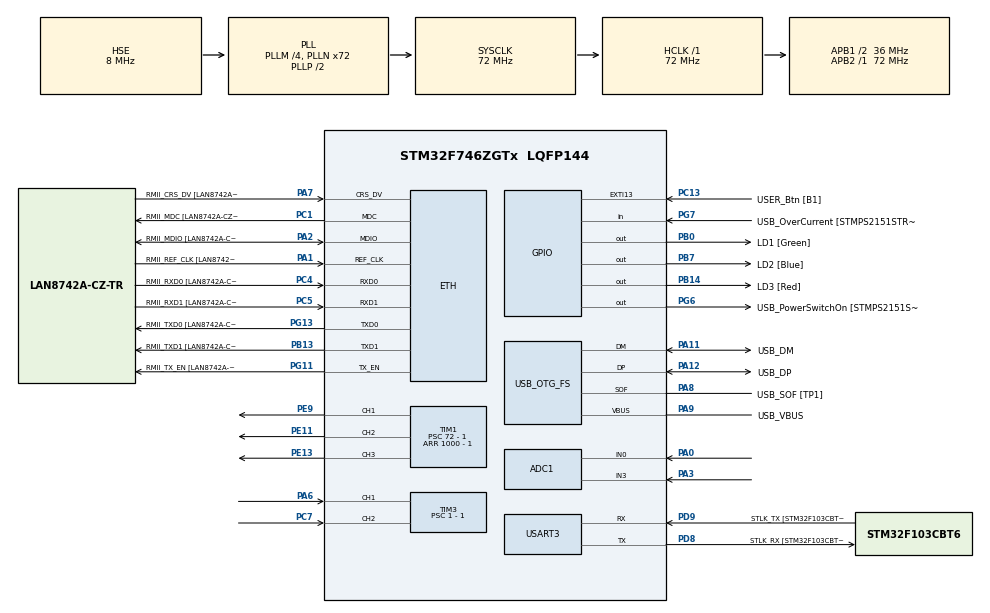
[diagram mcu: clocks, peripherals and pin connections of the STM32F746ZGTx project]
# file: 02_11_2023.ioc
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ADC1.Channel-0\#ChannelRegularConversion=ADC_CHANNEL_3
ADC1.NbrOfConversionFlag=1
ADC1.Rank-0\#ChannelRegularConversion=1
ADC1.SamplingTime-0\#ChannelRegularConversion=ADC_SAMPLETIME_3CYCLES
ADC1.master=1
ETH.MediaInterface=HAL_ETH_RMII_MODE
ETH.PHY_Name=LAN8742A_PHY_ADDRESS
ETH.PHY_Value=0
ETH.PhyAddress=0
Mcu.Family=STM32F7
Mcu.Name=STM32F746ZGTx
Mcu.Package=LQFP144
NVIC.PriorityGroup=NVIC_PRIORITYGROUP_4
NVIC.TIM2_IRQn=true\:0\:0\:false\:false\:true\:true\:true\:true
NVIC.USART3_IRQn=true\:0\:0\:false\:false\:true\:true\:true\:true
PA0/WKUP.Signal=ADCx_IN0
PA1.GPIO_Label=RMII_REF_CLK [LAN8742A-CZ-TR_REFCLK0]
PA1.Mode=RMII
PA1.Signal=ETH_REF_CLK
PA10.GPIO_Label=USB_ID
PA10.Signal=USB_OTG_FS_ID
PA11.GPIO_Label=USB_DM
PA11.Mode=Device_Only
PA11.Signal=USB_OTG_FS_DM
PA12.GPIO_Label=USB_DP
PA12.Mode=Device_Only
PA12.Signal=USB_OTG_FS_DP
PA13.GPIO_Label=TMS
PA13.Mode=Serial_Wire
PA13.Signal=SYS_JTMS-SWDIO
PA14.GPIO_Label=TCK
PA14.Mode=Serial_Wire
PA14.Signal=SYS_JTCK-SWCLK
PA2.GPIO_Label=RMII_MDIO [LAN8742A-CZ-TR_MDIO]
PA2.Mode=RMII
PA2.Signal=ETH_MDIO
PA3.Signal=ADCx_IN3
PA6.GPIO_PuPd=GPIO_PULLUP
PA6.Signal=S_TIM3_CH1
PA7.GPIO_Label=RMII_CRS_DV [LAN8742A-CZ-TR_CRS_DV]
PA7.Mode=RMII
PA7.Signal=ETH_CRS_DV
PA8.GPIO_Label=USB_SOF [TP1]
PA8.Mode=Activate_SOF_FS
PA8.Signal=USB_OTG_FS_SOF
PA9.GPIO_Label=USB_VBUS
PA9.Mode=Activate_VBUS
PA9.Signal=USB_OTG_FS_VBUS
PB0.GPIO_Label=LD1 [Green]
PB0.Signal=GPIO_Output
PB13.GPIO_Label=RMII_TXD1 [LAN8742A-CZ-TR_TXD1]
PB13.Mode=RMII
PB13.Signal=ETH_TXD1
PB14.GPIO_Label=LD3 [Red]
PB14.Signal=GPIO_Output
PB3.GPIO_Label=SW0
PB3.Signal=SYS_JTDO-SWO
PB7.GPIO_Label=LD2 [Blue]
PB7.Signal=GPIO_Output
PC1.GPIO_Label=RMII_MDC [LAN8742A-CZ-TR_MDC]
PC1.Mode=RMII
PC1.Signal=ETH_MDC
PC13.GPIO_Label=USER_Btn [B1]
PC13.Signal=GPXTI13
PC14/OSC32_IN.Mode=LSE-External-Oscillator
PC14/OSC32_IN.Signal=RCC_OSC32_IN
PC15/OSC32_OUT.Mode=LSE-External-Oscillator
PC15/OSC32_OUT.Signal=RCC_OSC32_OUT
PC4.GPIO_Label=RMII_RXD0 [LAN8742A-CZ-TR_RXD0]
PC4.Mode=RMII
PC4.Signal=ETH_RXD0
PC5.GPIO_Label=RMII_RXD1 [LAN8742A-CZ-TR_RXD1]
PC5.Mode=RMII
PC5.Signal=ETH_RXD1
PC7.GPIO_PuPd=GPIO_PULLUP
PC7.Signal=S_TIM3_CH2
PD8.GPIO_Label=STLK_RX [STM32F103CBT6_PA3]
PD8.GPIO_PuPd=GPIO_PULLUP
PD8.Mode=Asynchronous
PD8.Signal=USART3_TX
PD9.GPIO_Label=STLK_TX [STM32F103CBT6_PA2]
PD9.GPIO_PuPd=GPIO_PULLUP
PD9.Mode=Asynchronous
PD9.Signal=USART3_RX
PE11.Signal=S_TIM1_CH2
PE13.Signal=S_TIM1_CH3
PE9.GPIO_ModeDefaultPP=GPIO_MODE_AF_PP
PE9.GPIO_PuPd=GPIO_NOPULL
PE9.Signal=S_TIM1_CH1
PG11.GPIO_Label=RMII_TX_EN [LAN8742A-CZ-TR_TXEN]
PG11.Mode=RMII
PG11.Signal=ETH_TX_EN
PG13.GPIO_Label=RMII_TXD0 [LAN8742A-CZ-TR_TXD0]
PG13.Mode=RMII
PG13.Signal=ETH_TXD0
PG6.GPIO_Label=USB_PowerSwitchOn [STMPS2151STR_EN]
PG6.Signal=GPIO_Output
PG7.GPIO_Label=USB_OverCurrent [STMPS2151STR_FAULT]
PG7.Signal=GPIO_Input
PH0/OSC_IN.GPIO_Label=MCO [STM32F103CBT6_PA8]
PH0/OSC_IN.Mode=HSE-External-Clock-Source
PH0/OSC_IN.Signal=RCC_OSC_IN
PH1/OSC_OUT.Mode=HSE-External-Clock-Source
PH1/OSC_OUT.Signal=RCC_OSC_OUT
ProjectManager.HeapSize=0x200
ProjectManager.StackSize=0x400
ProjectManager.TargetToolchain=STM32CubeIDE
RCC.48MHZClocksFreq_Value=24000000
RCC.AHBFreq_Value=72000000
RCC.APB1CLKDivider=RCC_HCLK_DIV2
RCC.APB1Freq_Value=36000000
RCC.APB1TimFreq_Value=72000000
RCC.APB2Freq_Value=72000000
RCC.APB2TimFreq_Value=72000000
RCC.CortexFreq_Value=72000000
RCC.HCLKFreq_Value=72000000
RCC.HSE_VALUE=8000000
RCC.HSI_VALUE=16000000
RCC.PLLM=4
RCC.PLLMUL=RCC_PLL_MUL9
RCC.PLLN=72
RCC.PLLQ=3
RCC.PRESCALERUSB=RCC_USBCLKSOURCE_PLL_DIV1_5
RCC.SYSCLKFreq_VALUE=72000000
RCC.SYSCLKSource=RCC_SYSCLKSOURCE_PLLCLK
RCC.SYSCLKSourceVirtual=RCC_SYSCLKSOURCE_PLLCLK
RCC.USBFreq_Value=48000000
RCC.VCOOutputFreq_Value=144000000
SH.ADCx_IN0.0=ADC1_IN0,IN0
SH.ADCx_IN3.0=ADC1_IN3,IN3
SH.S_TIM1_CH1.0=TIM1_CH1,PWM Generation1 CH1
SH.S_TIM1_CH2.0=TIM1_CH2,PWM Generation2 CH2
SH.S_TIM1_CH3.0=TIM1_CH3,PWM Generation3 CH3
SH.S_TIM3_CH1.0=TIM3_CH1,Encoder_Interface
SH.S_TIM3_CH2.0=TIM3_CH2,Encoder_Interface
TIM1.Channel-PWM\ Generation1\ CH1=TIM_CHANNEL_1
TIM1.Channel-PWM\ Generation2\ CH2=TIM_CHANNEL_2
TIM1.Channel-PWM\ Generation3\ CH3=TIM_CHANNEL_3
TIM1.Period=1000 - 1
TIM1.Prescaler=72 - 1
TIM2.Period=5000 - 1
TIM2.Prescaler=7200 - 1
TIM3.EncoderMode=TIM_ENCODERMODE_TI12
TIM3.IC1Filter=0
TIM3.IC2Filter=0
TIM3.Period=100 - 1
TIM3.Prescaler=1 - 1
USART3.VirtualMode-Asynchronous=VM_ASYNC
USB_OTG_FS.VirtualMode=Device_Only
VP_TIM1_VS_ClockSourceINT.Mode=Internal
VP_TIM2_VS_ClockSourceINT.Mode=Internal
board=NUCLEO-F746ZG

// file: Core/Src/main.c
/* USER CODE BEGIN Header */
/**
  ******************************************************************************
  * @file           : main.c
  * @brief          : Main program body
  ******************************************************************************
  * @attention
  *
  * Copyright (c) 2023 STMicroelectronics.
  * All rights reserved.
  *
  * This software is licensed under terms that can be found in the LICENSE file
  * in the root directory of this software component.
  * If no LICENSE file comes with this software, it is provided AS-IS.
  *
  ******************************************************************************
  */
/* USER CODE END Header */
#include "main.h"
#include "string.h"

/* USER CODE BEGIN PD */
//ZAD 3 = 4
#define ZAD 6
/* USER CODE END PD */

#if defined ( __ICCARM__ ) /*!< IAR Compiler */
#pragma location=0x2004c000
ETH_DMADescTypeDef  DMARxDscrTab[ETH_RX_DESC_CNT]; /* Ethernet Rx DMA Descriptors */
#pragma location=0x2004c0a0
ETH_DMADescTypeDef  DMATxDscrTab[ETH_TX_DESC_CNT]; /* Ethernet Tx DMA Descriptors */

#elif defined ( __CC_ARM )  /* MDK ARM Compiler */

__attribute__((at(0x2004c000))) ETH_DMADescTypeDef  DMARxDscrTab[ETH_RX_DESC_CNT]; /* Ethernet Rx DMA Descriptors */
__attribute__((at(0x2004c0a0))) ETH_DMADescTypeDef  DMATxDscrTab[ETH_TX_DESC_CNT]; /* Ethernet Tx DMA Descriptors */

#elif defined ( __GNUC__ ) /* GNU Compiler */
ETH_DMADescTypeDef DMARxDscrTab[ETH_RX_DESC_CNT] __attribute__((section(".RxDecripSection"))); /* Ethernet Rx DMA Descriptors */
ETH_DMADescTypeDef DMATxDscrTab[ETH_TX_DESC_CNT] __attribute__((section(".TxDecripSection")));   /* Ethernet Tx DMA Descriptors */

#endif

ETH_TxPacketConfig TxConfig;

ADC_HandleTypeDef hadc1;

ETH_HandleTypeDef heth;

TIM_HandleTypeDef htim1;
TIM_HandleTypeDef htim2;
TIM_HandleTypeDef htim3;

UART_HandleTypeDef huart3;

PCD_HandleTypeDef hpcd_USB_OTG_FS;

/* USER CODE BEGIN PV */
char cmd[] = "1234";
char buff[64];
uint32_t encoder;
/* USER CODE END PV */

void SystemClock_Config(void);
static void MX_GPIO_Init(void);
static void MX_ETH_Init(void);
static void MX_USART3_UART_Init(void);
static void MX_USB_OTG_FS_PCD_Init(void);
static void MX_TIM1_Init(void);
static void MX_TIM2_Init(void);
static void MX_TIM3_Init(void);
static void MX_ADC1_Init(void);
/* USER CODE BEGIN PFP */
void setRedFill(uint8_t fill);
void setGreenFill(uint8_t fill);
void setBlueFill(uint8_t fill);
void pwmStartAll();
/* USER CODE END PFP */

int main(void)
{

  /* MCU Configuration--------------------------------------------------------*/

  /* Reset of all peripherals, Initializes the Flash interface and the Systick. */
  HAL_Init();

  /* Configure the system clock */
  SystemClock_Config();

  /* Initialize all configured peripherals */
  MX_GPIO_Init();
  MX_ETH_Init();
  MX_USART3_UART_Init();
  MX_USB_OTG_FS_PCD_Init();
  MX_TIM1_Init();
  MX_TIM2_Init();
  MX_TIM3_Init();
  MX_ADC1_Init();
  /* USER CODE BEGIN 2 */
#if ZAD == 1
  setRedFill(50);
  setGreenFill(50);
  setBlueFill(50);
  HAL_TIM_Base_Start(&htim1);
  pwmStartAll();
#endif
#if ZAD == 2
  setRedFill(0);
  setGreenFill(0);
  setBlueFill(0);
  //trzeba wystartować htim1 i tak?
  HAL_TIM_Base_Start(&htim1);
  HAL_TIM_Base_Start_IT(&htim2);
  pwmStartAll();
#endif
#if ZAD == 3
  setRedFill(0);
  setGreenFill(0);
  setBlueFill(0);
  //trzeba wystartować htim1 i tak?
  HAL_TIM_Base_Start(&htim1);
  pwmStartAll();
  HAL_UART_Receive_IT(&huart3, cmd, strlen(cmd)); // strlen = 4
#endif
#if ZAD == 5
  HAL_TIM_Encoder_Start(&htim3, TIM_CHANNEL_ALL);
#endif
#if ZAD == 6
  HAL_TIM_Encoder_Start(&htim3, TIM_CHANNEL_ALL);
#endif
  /* USER CODE END 2 */

  /* Infinite loop */
  /* USER CODE BEGIN WHILE */
  while (1)
  {
#if ZAD == 5
	  HAL_Delay(100);
	  encoder = __HAL_TIM_GET_COMPARE(&htim3, TIM_CHANNEL_1);
#endif
#if ZAD == 6
	  HAL_Delay(1000);
	  encoder = __HAL_TIM_GET_COMPARE(&htim3, TIM_CHANNEL_1);
	  itoa(encoder, buff, 10);
	  HAL_UART_Transmit(&huart3, buff, strlen(buff), 100);
	  HAL_UART_Transmit(&huart3, "\n\r", 2, 100);
#endif
    /* USER CODE END WHILE */

  }
}

void SystemClock_Config(void)
{
  RCC_OscInitTypeDef RCC_OscInitStruct = {0};
  RCC_ClkInitTypeDef RCC_ClkInitStruct = {0};

  /** Configure LSE Drive Capability
  */
  HAL_PWR_EnableBkUpAccess();

  /** Configure the main internal regulator output voltage
  */
  __HAL_RCC_PWR_CLK_ENABLE();
  __HAL_PWR_VOLTAGESCALING_CONFIG(PWR_REGULATOR_VOLTAGE_SCALE3);

  /** Initializes the RCC Oscillators according to the specified parameters
  * in the RCC_OscInitTypeDef structure.
  */
  RCC_OscInitStruct.OscillatorType = RCC_OSCILLATORTYPE_HSE;
  RCC_OscInitStruct.HSEState = RCC_HSE_BYPASS;
  RCC_OscInitStruct.PLL.PLLState = RCC_PLL_ON;
  RCC_OscInitStruct.PLL.PLLSource = RCC_PLLSOURCE_HSE;
  RCC_OscInitStruct.PLL.PLLM = 4;
  RCC_OscInitStruct.PLL.PLLN = 72;
  RCC_OscInitStruct.PLL.PLLP = RCC_PLLP_DIV2;
  RCC_OscInitStruct.PLL.PLLQ = 3;
  if (HAL_RCC_OscConfig(&RCC_OscInitStruct) != HAL_OK)
  {
    Error_Handler();
  }

  /** Initializes the CPU, AHB and APB buses clocks
  */
  RCC_ClkInitStruct.ClockType = RCC_CLOCKTYPE_HCLK|RCC_CLOCKTYPE_SYSCLK
                              |RCC_CLOCKTYPE_PCLK1|RCC_CLOCKTYPE_PCLK2;
  RCC_ClkInitStruct.SYSCLKSource = RCC_SYSCLKSOURCE_PLLCLK;
  RCC_ClkInitStruct.AHBCLKDivider = RCC_SYSCLK_DIV1;
  RCC_ClkInitStruct.APB1CLKDivider = RCC_HCLK_DIV2;
  RCC_ClkInitStruct.APB2CLKDivider = RCC_HCLK_DIV1;

  if (HAL_RCC_ClockConfig(&RCC_ClkInitStruct, FLASH_LATENCY_2) != HAL_OK)
  {
    Error_Handler();
  }
}

static void MX_ADC1_Init(void)
{

  ADC_ChannelConfTypeDef sConfig = {0};

  /** Configure the global features of the ADC (Clock, Resolution, Data Alignment and number of conversion)
  */
  hadc1.Instance = ADC1;
  hadc1.Init.ClockPrescaler = ADC_CLOCK_SYNC_PCLK_DIV2;
  hadc1.Init.Resolution = ADC_RESOLUTION_12B;
  hadc1.Init.ScanConvMode = ADC_SCAN_DISABLE;
  hadc1.Init.ContinuousConvMode = DISABLE;
  hadc1.Init.DiscontinuousConvMode = DISABLE;
  hadc1.Init.ExternalTrigConvEdge = ADC_EXTERNALTRIGCONVEDGE_NONE;
  hadc1.Init.ExternalTrigConv = ADC_SOFTWARE_START;
  hadc1.Init.DataAlign = ADC_DATAALIGN_RIGHT;
  hadc1.Init.NbrOfConversion = 1;
  hadc1.Init.DMAContinuousRequests = DISABLE;
  hadc1.Init.EOCSelection = ADC_EOC_SINGLE_CONV;
  if (HAL_ADC_Init(&hadc1) != HAL_OK)
  {
    Error_Handler();
  }

  /** Configure for the selected ADC regular channel its corresponding rank in the sequencer and its sample time.
  */
  sConfig.Channel = ADC_CHANNEL_3;
  sConfig.Rank = ADC_REGULAR_RANK_1;
  sConfig.SamplingTime = ADC_SAMPLETIME_3CYCLES;
  if (HAL_ADC_ConfigChannel(&hadc1, &sConfig) != HAL_OK)
  {
    Error_Handler();
  }

}

static void MX_ETH_Init(void)
{

   static uint8_t MACAddr[6];

  heth.Instance = ETH;
  MACAddr[0] = 0x00;
  MACAddr[1] = 0x80;
  MACAddr[2] = 0xE1;
  MACAddr[3] = 0x00;
  MACAddr[4] = 0x00;
  MACAddr[5] = 0x00;
  heth.Init.MACAddr = &MACAddr[0];
  heth.Init.MediaInterface = HAL_ETH_RMII_MODE;
  heth.Init.TxDesc = DMATxDscrTab;
  heth.Init.RxDesc = DMARxDscrTab;
  heth.Init.RxBuffLen = 1524;

  if (HAL_ETH_Init(&heth) != HAL_OK)
  {
    Error_Handler();
  }

  memset(&TxConfig, 0 , sizeof(ETH_TxPacketConfig));
  TxConfig.Attributes = ETH_TX_PACKETS_FEATURES_CSUM | ETH_TX_PACKETS_FEATURES_CRCPAD;
  TxConfig.ChecksumCtrl = ETH_CHECKSUM_IPHDR_PAYLOAD_INSERT_PHDR_CALC;
  TxConfig.CRCPadCtrl = ETH_CRC_PAD_INSERT;

}

static void MX_TIM1_Init(void)
{

  TIM_ClockConfigTypeDef sClockSourceConfig = {0};
  TIM_MasterConfigTypeDef sMasterConfig = {0};
  TIM_OC_InitTypeDef sConfigOC = {0};
  TIM_BreakDeadTimeConfigTypeDef sBreakDeadTimeConfig = {0};

  htim1.Instance = TIM1;
  htim1.Init.Prescaler = 72 - 1;
  htim1.Init.CounterMode = TIM_COUNTERMODE_UP;
  htim1.Init.Period = 1000 - 1;
  htim1.Init.ClockDivision = TIM_CLOCKDIVISION_DIV1;
  htim1.Init.RepetitionCounter = 0;
  htim1.Init.AutoReloadPreload = TIM_AUTORELOAD_PRELOAD_DISABLE;
  if (HAL_TIM_Base_Init(&htim1) != HAL_OK)
  {
    Error_Handler();
  }
  sClockSourceConfig.ClockSource = TIM_CLOCKSOURCE_INTERNAL;
  if (HAL_TIM_ConfigClockSource(&htim1, &sClockSourceConfig) != HAL_OK)
  {
    Error_Handler();
  }
  if (HAL_TIM_PWM_Init(&htim1) != HAL_OK)
  {
    Error_Handler();
  }
  sMasterConfig.MasterOutputTrigger = TIM_TRGO_RESET;
  sMasterConfig.MasterOutputTrigger2 = TIM_TRGO2_RESET;
  sMasterConfig.MasterSlaveMode = TIM_MASTERSLAVEMODE_DISABLE;
  if (HAL_TIMEx_MasterConfigSynchronization(&htim1, &sMasterConfig) != HAL_OK)
  {
    Error_Handler();
  }
  sConfigOC.OCMode = TIM_OCMODE_PWM1;
  sConfigOC.Pulse = 0;
  sConfigOC.OCPolarity = TIM_OCPOLARITY_HIGH;
  sConfigOC.OCNPolarity = TIM_OCNPOLARITY_HIGH;
  sConfigOC.OCFastMode = TIM_OCFAST_DISABLE;
  sConfigOC.OCIdleState = TIM_OCIDLESTATE_RESET;
  sConfigOC.OCNIdleState = TIM_OCNIDLESTATE_RESET;
  if (HAL_TIM_PWM_ConfigChannel(&htim1, &sConfigOC, TIM_CHANNEL_1) != HAL_OK)
  {
    Error_Handler();
  }
  if (HAL_TIM_PWM_ConfigChannel(&htim1, &sConfigOC, TIM_CHANNEL_2) != HAL_OK)
  {
    Error_Handler();
  }
  if (HAL_TIM_PWM_ConfigChannel(&htim1, &sConfigOC, TIM_CHANNEL_3) != HAL_OK)
  {
    Error_Handler();
  }
  sBreakDeadTimeConfig.OffStateRunMode = TIM_OSSR_DISABLE;
  sBreakDeadTimeConfig.OffStateIDLEMode = TIM_OSSI_DISABLE;
  sBreakDeadTimeConfig.LockLevel = TIM_LOCKLEVEL_OFF;
  sBreakDeadTimeConfig.DeadTime = 0;
  sBreakDeadTimeConfig.BreakState = TIM_BREAK_DISABLE;
  sBreakDeadTimeConfig.BreakPolarity = TIM_BREAKPOLARITY_HIGH;
  sBreakDeadTimeConfig.BreakFilter = 0;
  sBreakDeadTimeConfig.Break2State = TIM_BREAK2_DISABLE;
  sBreakDeadTimeConfig.Break2Polarity = TIM_BREAK2POLARITY_HIGH;
  sBreakDeadTimeConfig.Break2Filter = 0;
  sBreakDeadTimeConfig.AutomaticOutput = TIM_AUTOMATICOUTPUT_DISABLE;
  if (HAL_TIMEx_ConfigBreakDeadTime(&htim1, &sBreakDeadTimeConfig) != HAL_OK)
  {
    Error_Handler();
  }
  HAL_TIM_MspPostInit(&htim1);

}

static void MX_TIM2_Init(void)
{

  TIM_ClockConfigTypeDef sClockSourceConfig = {0};
  TIM_MasterConfigTypeDef sMasterConfig = {0};

  htim2.Instance = TIM2;
  htim2.Init.Prescaler = 7200 - 1;
  htim2.Init.CounterMode = TIM_COUNTERMODE_UP;
  htim2.Init.Period = 5000 - 1;
  htim2.Init.ClockDivision = TIM_CLOCKDIVISION_DIV1;
  htim2.Init.AutoReloadPreload = TIM_AUTORELOAD_PRELOAD_DISABLE;
  if (HAL_TIM_Base_Init(&htim2) != HAL_OK)
  {
    Error_Handler();
  }
  sClockSourceConfig.ClockSource = TIM_CLOCKSOURCE_INTERNAL;
  if (HAL_TIM_ConfigClockSource(&htim2, &sClockSourceConfig) != HAL_OK)
  {
    Error_Handler();
  }
  sMasterConfig.MasterOutputTrigger = TIM_TRGO_RESET;
  sMasterConfig.MasterSlaveMode = TIM_MASTERSLAVEMODE_DISABLE;
  if (HAL_TIMEx_MasterConfigSynchronization(&htim2, &sMasterConfig) != HAL_OK)
  {
    Error_Handler();
  }

}

static void MX_TIM3_Init(void)
{

  TIM_Encoder_InitTypeDef sConfig = {0};
  TIM_MasterConfigTypeDef sMasterConfig = {0};

  htim3.Instance = TIM3;
  htim3.Init.Prescaler = 1 - 1;
  htim3.Init.CounterMode = TIM_COUNTERMODE_UP;
  htim3.Init.Period = 100 - 1;
  htim3.Init.ClockDivision = TIM_CLOCKDIVISION_DIV1;
  htim3.Init.AutoReloadPreload = TIM_AUTORELOAD_PRELOAD_DISABLE;
  sConfig.EncoderMode = TIM_ENCODERMODE_TI12;
  sConfig.IC1Polarity = TIM_ICPOLARITY_RISING;
  sConfig.IC1Selection = TIM_ICSELECTION_DIRECTTI;
  sConfig.IC1Prescaler = TIM_ICPSC_DIV1;
  sConfig.IC1Filter = 0;
  sConfig.IC2Polarity = TIM_ICPOLARITY_RISING;
  sConfig.IC2Selection = TIM_ICSELECTION_DIRECTTI;
  sConfig.IC2Prescaler = TIM_ICPSC_DIV1;
  sConfig.IC2Filter = 0;
  if (HAL_TIM_Encoder_Init(&htim3, &sConfig) != HAL_OK)
  {
    Error_Handler();
  }
  sMasterConfig.MasterOutputTrigger = TIM_TRGO_RESET;
  sMasterConfig.MasterSlaveMode = TIM_MASTERSLAVEMODE_DISABLE;
  if (HAL_TIMEx_MasterConfigSynchronization(&htim3, &sMasterConfig) != HAL_OK)
  {
    Error_Handler();
  }

}

static void MX_USART3_UART_Init(void)
{

  huart3.Instance = USART3;
  huart3.Init.BaudRate = 115200;
  huart3.Init.WordLength = UART_WORDLENGTH_8B;
  huart3.Init.StopBits = UART_STOPBITS_1;
  huart3.Init.Parity = UART_PARITY_NONE;
  huart3.Init.Mode = UART_MODE_TX_RX;
  huart3.Init.HwFlowCtl = UART_HWCONTROL_NONE;
  huart3.Init.OverSampling = UART_OVERSAMPLING_16;
  huart3.Init.OneBitSampling = UART_ONE_BIT_SAMPLE_DISABLE;
  huart3.AdvancedInit.AdvFeatureInit = UART_ADVFEATURE_NO_INIT;
  if (HAL_UART_Init(&huart3) != HAL_OK)
  {
    Error_Handler();
  }

}

static void MX_USB_OTG_FS_PCD_Init(void)
{

  hpcd_USB_OTG_FS.Instance = USB_OTG_FS;
  hpcd_USB_OTG_FS.Init.dev_endpoints = 6;
  hpcd_USB_OTG_FS.Init.speed = PCD_SPEED_FULL;
  hpcd_USB_OTG_FS.Init.dma_enable = DISABLE;
  hpcd_USB_OTG_FS.Init.phy_itface = PCD_PHY_EMBEDDED;
  hpcd_USB_OTG_FS.Init.Sof_enable = ENABLE;
  hpcd_USB_OTG_FS.Init.low_power_enable = DISABLE;
  hpcd_USB_OTG_FS.Init.lpm_enable = DISABLE;
  hpcd_USB_OTG_FS.Init.vbus_sensing_enable = ENABLE;
  hpcd_USB_OTG_FS.Init.use_dedicated_ep1 = DISABLE;
  if (HAL_PCD_Init(&hpcd_USB_OTG_FS) != HAL_OK)
  {
    Error_Handler();
  }

}

static void MX_GPIO_Init(void)
{
  GPIO_InitTypeDef GPIO_InitStruct = {0};

  /* GPIO Ports Clock Enable */
  __HAL_RCC_GPIOC_CLK_ENABLE();
  __HAL_RCC_GPIOH_CLK_ENABLE();
  __HAL_RCC_GPIOA_CLK_ENABLE();
  __HAL_RCC_GPIOB_CLK_ENABLE();
  __HAL_RCC_GPIOE_CLK_ENABLE();
  __HAL_RCC_GPIOD_CLK_ENABLE();
  __HAL_RCC_GPIOG_CLK_ENABLE();

  /*Configure GPIO pin Output Level */
  HAL_GPIO_WritePin(GPIOB, LD1_Pin|LD3_Pin|LD2_Pin, GPIO_PIN_RESET);

  /*Configure GPIO pin Output Level */
  HAL_GPIO_WritePin(USB_PowerSwitchOn_GPIO_Port, USB_PowerSwitchOn_Pin, GPIO_PIN_RESET);

  /*Configure GPIO pin : USER_Btn_Pin */
  GPIO_InitStruct.Pin = USER_Btn_Pin;
  GPIO_InitStruct.Mode = GPIO_MODE_IT_RISING;
  GPIO_InitStruct.Pull = GPIO_NOPULL;
  HAL_GPIO_Init(USER_Btn_GPIO_Port, &GPIO_InitStruct);

  /*Configure GPIO pins : LD1_Pin LD3_Pin LD2_Pin */
  GPIO_InitStruct.Pin = LD1_Pin|LD3_Pin|LD2_Pin;
  GPIO_InitStruct.Mode = GPIO_MODE_OUTPUT_PP;
  GPIO_InitStruct.Pull = GPIO_NOPULL;
  GPIO_InitStruct.Speed = GPIO_SPEED_FREQ_LOW;
  HAL_GPIO_Init(GPIOB, &GPIO_InitStruct);

  /*Configure GPIO pin : USB_PowerSwitchOn_Pin */
  GPIO_InitStruct.Pin = USB_PowerSwitchOn_Pin;
  GPIO_InitStruct.Mode = GPIO_MODE_OUTPUT_PP;
  GPIO_InitStruct.Pull = GPIO_NOPULL;
  GPIO_InitStruct.Speed = GPIO_SPEED_FREQ_LOW;
  HAL_GPIO_Init(USB_PowerSwitchOn_GPIO_Port, &GPIO_InitStruct);

  /*Configure GPIO pin : USB_OverCurrent_Pin */
  GPIO_InitStruct.Pin = USB_OverCurrent_Pin;
  GPIO_InitStruct.Mode = GPIO_MODE_INPUT;
  GPIO_InitStruct.Pull = GPIO_NOPULL;
  HAL_GPIO_Init(USB_OverCurrent_GPIO_Port, &GPIO_InitStruct);

}

/* USER CODE BEGIN 4 */
// arr set to 1000 so *10 will do
void setRedFill(uint8_t fill)
{
	if (fill > 100) fill = 100;
	__HAL_TIM_SET_COMPARE(&htim1, TIM_CHANNEL_2, fill * 10);
}

void setGreenFill(uint8_t fill)
{
	if (fill > 100) fill = 100;
	__HAL_TIM_SET_COMPARE(&htim1, TIM_CHANNEL_1, fill * 10);
}

void setBlueFill(uint8_t fill)
{
	if (fill > 100) fill = 100;
	__HAL_TIM_SET_COMPARE(&htim1, TIM_CHANNEL_3, fill * 10);
}

void pwmStartAll()
{
	HAL_TIM_PWM_Start(&htim1, TIM_CHANNEL_1);
	HAL_TIM_PWM_Start(&htim1, TIM_CHANNEL_2);
	HAL_TIM_PWM_Start(&htim1, TIM_CHANNEL_3);
}

static uint8_t rgb[] = { 0, 20, 40 };

void HAL_TIM_PeriodElapsedCallback(TIM_HandleTypeDef *htim)
{
	if(htim == &htim2)
	{
		for(uint8_t i = 0; i < 3; i++)
		{
			rgb[i] += 10;
			if(rgb[i] > 100) rgb[i] = 0;
		}
		setRedFill(rgb[0]);
		setGreenFill(rgb[1]);
		setBlueFill(rgb[2]);
	}
}

void HAL_UART_RxCpltCallback(UART_HandleTypeDef *huart)
{
	if(huart == &huart3)
	{
		// patrz dokumentacja atoi
		uint8_t fill = atoi(&cmd[1]); //R050\0 -> 50
		switch(cmd[0])
		{
			case 'r':
				setRedFill(fill);
				break;
			case 'g':
				setGreenFill(fill);
				break;
			case 'b':
				setBlueFill(fill);
				break;
			default:
			{
				char msg[] = "err";
				HAL_UART_Transmit(&huart3, msg, strlen(msg), 100);
			} break;
		}
		HAL_UART_Receive_IT(&huart3, cmd, strlen(cmd));
	}
}
/* USER CODE END 4 */

void Error_Handler(void)
{
  /* USER CODE BEGIN Error_Handler_Debug */
  /* User can add his own implementation to report the HAL error return state */
  __disable_irq();

  char msg = "err";
  while (1)
  {
		HAL_UART_Transmit(&huart3, msg, strlen(msg), 100);
		HAL_Delay(1000);
  }
  /* USER CODE END Error_Handler_Debug */
}
